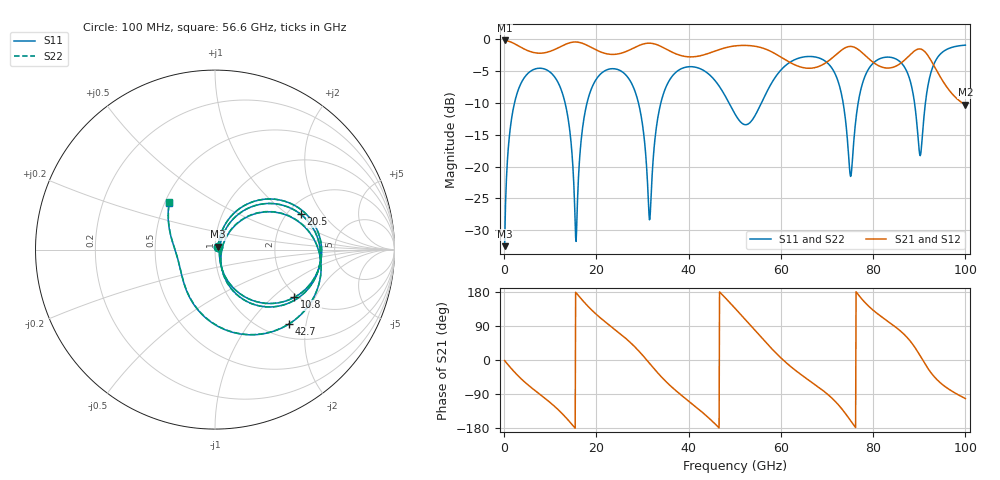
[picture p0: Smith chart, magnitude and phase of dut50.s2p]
! Touchstone file exported from HFSS 2026.1.0
!  File:  C:/ffzhzh/LocalFiles/Ansys_Project_Files/temp_train_TSV_RDL_50_1783445392_41684.aedt
!  Generated:  01:43:25 AM Jul  8, 2026
!  Design:  TSV_RDL
!  Project:  temp_train_TSV_RDL_50_1783445392_41684
! Variables:
!  h_bsmrdl = 4.03um
!  h_ox = 20um
!  h_rdl = 5um
!  h_sub = 85.24um
!  h_tmrdl = 4.98um
!  h_tsv = 85.24um
!  h_via = 3um
!  l_bsmrdl = 351.14um
!  l_sub = 3904.67um
!  l_tmrdl = 584.02um
!  m_sub = 200um
!  pitch = 58.53um
!  r_tsv = 6.33um
!  s_tmrdl = 10um
!  w_bsmrdl = 10.74um
!  w_sub = 500um
!  w_tmrdl = 27.65um
!  x_tsv_center1 = 597.845um
!  x_tsv_center2 = 959.725um
!  x_tsv_center3 = 1571.395um
!  x_tsv_center4 = 1933.275um
!  x_tsv_center5 = 2544.945um
!  x_tsv_center6 = 2906.825um
# GHz S MA R 50.000000
! Terminal data exported
! Port[1] = TM_RDL1_1_T1
! Port[2] = TM_RDL5_1_T1
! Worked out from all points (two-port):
!   1000 points, 100 MHz to 100 GHz, reference 50 ohm
!   highest |S21| = -0.15 dB at 100 MHz (marker M1); lowest = -10.3 dB at 100 GHz (marker M2)
!   |S21| within 3 dB of the highest: start of sweep to 60.87 GHz; 70.71 GHz to 79.25 GHz (8.547 GHz wide, 11.4 % of centre) (the widest 2 of 3)
!   lowest |S11| = -32.5 dB at 100 MHz (marker M3), VSWR 1.05, Z = 51.8 + j1.66 ohm
!   |S11| at or under -10 dB: 13.22 GHz to 17.96 GHz (4.739 GHz wide, 30.4 % of centre); 29.12 GHz to 33.96 GHz (4.837 GHz wide, 15.3 % of centre); 48.77 GHz to 55.76 GHz (6.997 GHz wide, 13.4 % of centre) (the widest 3 of 6)
!   |S22| runs from -32.5 to -0.9 dB; largest |S21 - S12| = 4.6e-13
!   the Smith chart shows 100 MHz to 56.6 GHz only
!   S11 on the Smith chart (normalised r, x): 100 MHz: 1.04, +0.03; 10.8 GHz: 1.92, -1.39; 20.5 GHz: 2.36, +1.26; 42.7 GHz: 1.27, -1.61; 56.6 GHz: 0.53, +0.32
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0.1  0.02371 42.4  0.9828 -1.5  0.9828 -1.5  0.02371 42.4
! Gamma 0 0 0 0
! Port Impedance 50 0 50 0
3  0.3963 45.2  0.8947 -41.5  0.8947 -41.5  0.3963 45.2
10.8  0.5158 -31.1  0.8298 -120.9  0.8298 -120.9  0.5158 -31.0
13.8  0.2475 -63.5  0.9318 -157.4  0.9318 -157.4  0.2475 -63.5
15.5  0.02774 -25.7  0.9562 178.6  0.9562 178.6  0.02781 -25.7
16.8  0.1752 60.7  0.938 160.1  0.938 160.1  0.1752 60.7
20.5  0.5168 22.4  0.8098 114.9  0.8098 114.9  0.5168 22.4
28.1  0.4148 -49.9  0.8579 37.5  0.8579 37.5  0.4148 -49.9
31.5  0.03824 -17.8  0.9358 -8.5  0.9358 -8.5  0.03699 -18.2
33.4  0.2526 45.7  0.902 -35.3  0.902 -35.3  0.2523 46.1
42.7  0.585 -45.1  0.7475 -135.2  0.7475 -135.2  0.5848 -44.8
50.1  0.2576 -131.9  0.8908 135.9  0.8908 135.9  0.2574 -131.5
56.6  0.3656 134.3  0.8429 48.4  0.8429 48.4  0.3655 133.9
66.7  0.7346 31.1  0.5955 -58.9  0.5955 -58.9  0.7346 30.8
72.4  0.4686 -20.2  0.7845 -117.3  0.7845 -117.3  0.4684 -20.7
75.7  0.1415 63.4  0.8751 -170.1  0.8751 -170.1  0.1389 64.6
78.2  0.5111 54.6  0.7533 152.1  0.7533 152.1  0.5104 55.0
83.4  0.7268 9.9  0.5965 100.2  0.5965 100.2  0.7265 10.1
87.9  0.4909 -29.1  0.7515 52.0  0.7515 52.0  0.4911 -28.8
90.5  0.1461 36.0  0.8366 4.8  0.8366 4.8  0.1495 35.4
93.3  0.6556 36.0  0.6118 -44.8  0.6118 -44.8  0.6562 35.8
100  0.9031 -13.7  0.3069 -101.8  0.3069 -101.8  0.9031 -13.8
